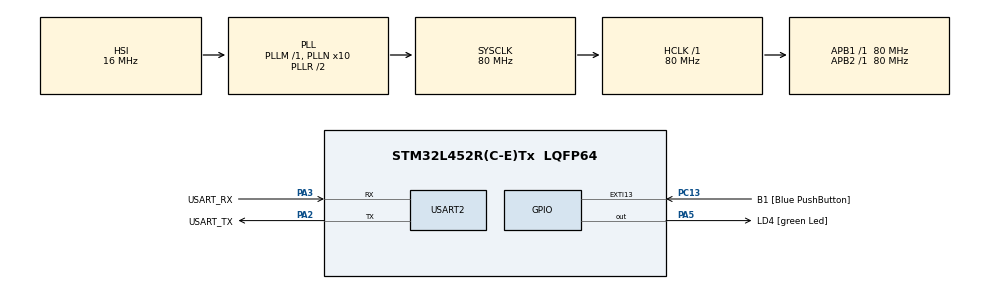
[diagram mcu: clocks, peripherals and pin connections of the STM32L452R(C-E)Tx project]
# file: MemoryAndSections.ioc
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Mcu.Family=STM32L4
Mcu.Name=STM32L452R(C-E)Tx
Mcu.Package=LQFP64
NVIC.PriorityGroup=NVIC_PRIORITYGROUP_4
PA13\ (JTMS/SWDIO).GPIO_Label=TMS
PA13\ (JTMS/SWDIO).Mode=Serial_Wire
PA13\ (JTMS/SWDIO).Signal=SYS_JTMS-SWDIO
PA14\ (JTCK/SWCLK).GPIO_Label=TCK
PA14\ (JTCK/SWCLK).Mode=Serial_Wire
PA14\ (JTCK/SWCLK).Signal=SYS_JTCK-SWCLK
PA2.GPIO_Label=USART_TX
PA2.GPIO_Mode=GPIO_MODE_AF_PP
PA2.GPIO_PuPd=GPIO_NOPULL
PA2.GPIO_Speed=GPIO_SPEED_FREQ_VERY_HIGH
PA2.Mode=Asynchronous
PA2.Signal=USART2_TX
PA3.GPIO_Label=USART_RX
PA3.GPIO_Mode=GPIO_MODE_AF_PP
PA3.GPIO_PuPd=GPIO_NOPULL
PA3.GPIO_Speed=GPIO_SPEED_FREQ_VERY_HIGH
PA3.Mode=Asynchronous
PA3.Signal=USART2_RX
PA5.GPIO_Label=LD4 [green Led]
PA5.GPIO_ModeDefaultOutputPP=GPIO_MODE_OUTPUT_PP
PA5.GPIO_PuPd=GPIO_NOPULL
PA5.GPIO_Speed=GPIO_SPEED_FREQ_LOW
PA5.Signal=GPIO_Output
PB3\ (JTDO/TRACESWO).GPIO_Label=SWO
PB3\ (JTDO/TRACESWO).Signal=SYS_JTDO-SWO
PC13.GPIO_Label=B1 [Blue PushButton]
PC13.GPIO_ModeDefaultEXTI=GPIO_MODE_IT_FALLING
PC13.GPIO_PuPd=GPIO_NOPULL
PC13.Signal=GPXTI13
PC14-OSC32_IN\ (PC14).Mode=LSE-External-Oscillator
PC14-OSC32_IN\ (PC14).Signal=RCC_OSC32_IN
PC15-OSC32_OUT\ (PC15).Mode=LSE-External-Oscillator
PC15-OSC32_OUT\ (PC15).Signal=RCC_OSC32_OUT
PH0-OSC_IN\ (PH0).Signal=RCC_OSC_IN
PH1-OSC_OUT\ (PH1).Signal=RCC_OSC_OUT
ProjectManager.HeapSize=0x200
ProjectManager.StackSize=0x400
ProjectManager.TargetToolchain=STM32CubeIDE
RCC.ADCFreq_Value=64000000
RCC.AHBFreq_Value=80000000
RCC.APB1Freq_Value=80000000
RCC.APB1TimFreq_Value=80000000
RCC.APB2Freq_Value=80000000
RCC.APB2TimFreq_Value=80000000
RCC.CortexFreq_Value=80000000
RCC.HCLKFreq_Value=80000000
RCC.HSE_VALUE=8000000
RCC.HSI48_VALUE=48000000
RCC.HSI_VALUE=16000000
RCC.MSI_VALUE=4000000
RCC.PLLN=10
RCC.PLLSourceVirtual=RCC_PLLSOURCE_HSI
RCC.PREFETCH_ENABLE=1
RCC.SYSCLKFreq_VALUE=80000000
RCC.SYSCLKSource=RCC_SYSCLKSOURCE_PLLCLK
RCC.USBFreq_Value=64000000
RCC.VCOOutputFreq_Value=160000000
USART2.VirtualMode-Asynchronous=VM_ASYNC
board=NUCLEO-L452RE

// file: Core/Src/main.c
/* USER CODE BEGIN Header */
/**
  ******************************************************************************
  * @file           : main.c
  * @brief          : Main program body
  ******************************************************************************
  * @attention
  *
  * Copyright (c) 2024 STMicroelectronics.
  * All rights reserved.
  *
  * This software is licensed under terms that can be found in the LICENSE file
  * in the root directory of this software component.
  * If no LICENSE file comes with this software, it is provided AS-IS.
  *
  ******************************************************************************
  */
/* USER CODE END Header */
#include "main.h"

/* USER CODE BEGIN Includes */
#include <stdio.h>

/* USER CODE END Includes */

/* USER CODE BEGIN PD */
//#define BACKUP_RAM
/* USER CODE END PD */

UART_HandleTypeDef huart2;

/* USER CODE BEGIN PV */
unsigned char __attribute__((section(".myBufSectionRAM"))) buf_ram[128];
unsigned char __attribute__((section(".myBufSectionFLASH"))) buf_flash[10] = {0,1,2,3,4,5,6,7,8,9};
unsigned char __attribute__((section(".mysection"))) buf_my_memory[10] = {0,1,2,3,4,5,6,7,8,9};
static uint8_t __attribute__((section(".myBackUpRAM"))) u8_variable;
/* USER CODE END PV */

void SystemClock_Config(void);
static void MX_GPIO_Init(void);
static void MX_USART2_UART_Init(void);
/* USER CODE BEGIN PFP */
#define PUTCHAR_PROTOTYPE int __io_putchar(int ch)

/* USER CODE END PFP */

int main(void)
{

  /* MCU Configuration--------------------------------------------------------*/

  /* Reset of all peripherals, Initializes the Flash interface and the Systick. */
  HAL_Init();

  /* Configure the system clock */
  SystemClock_Config();

  /* USER CODE BEGIN SysInit */
  __HAL_RCC_PWR_CLK_ENABLE();
  HAL_PWR_EnableBkUpAccess();

  // Wait for Backup domain Write protection disable
  uint32_t tickstart = HAL_GetTick();
  while((PWR->CR1 & PWR_CR1_DBP) == 0U)
  {
	  if((HAL_GetTick() - tickstart) > RCC_DBP_TIMEOUT_VALUE)
	  {
		  Error_Handler();
	  }
  }

  // Select the RTC clock source (LSE, LSI, or HSE)
  __HAL_RCC_RTC_CONFIG(RCC_RTCCLKSOURCE_LSE);
  // Enable the RTC clock
  __HAL_RCC_RTC_ENABLE();

  //Mechanism to clean and validate the data stored in the backup RAM.
  if((u8_variable % 0x10) != 0) u8_variable = 0x00;

  u8_variable += 0x10;

  /* USER CODE END SysInit */

  /* Initialize all configured peripherals */
  MX_GPIO_Init();
  MX_USART2_UART_Init();
  /* USER CODE BEGIN 2 */
  printf("Variable in BackUpRAM: %d\r\n ", u8_variable);
  /* USER CODE END 2 */

  /* Infinite loop */
  while (1)
  {

  }
}

void SystemClock_Config(void)
{
  RCC_OscInitTypeDef RCC_OscInitStruct = {0};
  RCC_ClkInitTypeDef RCC_ClkInitStruct = {0};

  /** Configure the main internal regulator output voltage
  */
  if (HAL_PWREx_ControlVoltageScaling(PWR_REGULATOR_VOLTAGE_SCALE1) != HAL_OK)
  {
    Error_Handler();
  }

  /** Initializes the RCC Oscillators according to the specified parameters
  * in the RCC_OscInitTypeDef structure.
  */
  RCC_OscInitStruct.OscillatorType = RCC_OSCILLATORTYPE_HSI;
  RCC_OscInitStruct.HSIState = RCC_HSI_ON;
  RCC_OscInitStruct.HSICalibrationValue = 64;
  RCC_OscInitStruct.PLL.PLLState = RCC_PLL_ON;
  RCC_OscInitStruct.PLL.PLLSource = RCC_PLLSOURCE_HSI;
  RCC_OscInitStruct.PLL.PLLM = 1;
  RCC_OscInitStruct.PLL.PLLN = 10;
  RCC_OscInitStruct.PLL.PLLP = RCC_PLLP_DIV7;
  RCC_OscInitStruct.PLL.PLLQ = RCC_PLLQ_DIV2;
  RCC_OscInitStruct.PLL.PLLR = RCC_PLLR_DIV2;
  if (HAL_RCC_OscConfig(&RCC_OscInitStruct) != HAL_OK)
  {
    Error_Handler();
  }

  /** Initializes the CPU, AHB and APB buses clocks
  */
  RCC_ClkInitStruct.ClockType = RCC_CLOCKTYPE_HCLK|RCC_CLOCKTYPE_SYSCLK
                              |RCC_CLOCKTYPE_PCLK1|RCC_CLOCKTYPE_PCLK2;
  RCC_ClkInitStruct.SYSCLKSource = RCC_SYSCLKSOURCE_PLLCLK;
  RCC_ClkInitStruct.AHBCLKDivider = RCC_SYSCLK_DIV1;
  RCC_ClkInitStruct.APB1CLKDivider = RCC_HCLK_DIV1;
  RCC_ClkInitStruct.APB2CLKDivider = RCC_HCLK_DIV1;

  if (HAL_RCC_ClockConfig(&RCC_ClkInitStruct, FLASH_LATENCY_4) != HAL_OK)
  {
    Error_Handler();
  }
}

static void MX_USART2_UART_Init(void)
{

  huart2.Instance = USART2;
  huart2.Init.BaudRate = 115200;
  huart2.Init.WordLength = UART_WORDLENGTH_8B;
  huart2.Init.StopBits = UART_STOPBITS_1;
  huart2.Init.Parity = UART_PARITY_NONE;
  huart2.Init.Mode = UART_MODE_TX_RX;
  huart2.Init.HwFlowCtl = UART_HWCONTROL_NONE;
  huart2.Init.OverSampling = UART_OVERSAMPLING_16;
  huart2.Init.OneBitSampling = UART_ONE_BIT_SAMPLE_DISABLE;
  huart2.AdvancedInit.AdvFeatureInit = UART_ADVFEATURE_NO_INIT;
  if (HAL_UART_Init(&huart2) != HAL_OK)
  {
    Error_Handler();
  }

}

static void MX_GPIO_Init(void)
{
  GPIO_InitTypeDef GPIO_InitStruct = {0};

  /* GPIO Ports Clock Enable */
  __HAL_RCC_GPIOC_CLK_ENABLE();
  __HAL_RCC_GPIOH_CLK_ENABLE();
  __HAL_RCC_GPIOA_CLK_ENABLE();
  __HAL_RCC_GPIOB_CLK_ENABLE();

  /*Configure GPIO pin Output Level */
  HAL_GPIO_WritePin(LD4_GPIO_Port, LD4_Pin, GPIO_PIN_RESET);

  /*Configure GPIO pin : B1_Pin */
  GPIO_InitStruct.Pin = B1_Pin;
  GPIO_InitStruct.Mode = GPIO_MODE_IT_FALLING;
  GPIO_InitStruct.Pull = GPIO_NOPULL;
  HAL_GPIO_Init(B1_GPIO_Port, &GPIO_InitStruct);

  /*Configure GPIO pin : LD4_Pin */
  GPIO_InitStruct.Pin = LD4_Pin;
  GPIO_InitStruct.Mode = GPIO_MODE_OUTPUT_PP;
  GPIO_InitStruct.Pull = GPIO_NOPULL;
  GPIO_InitStruct.Speed = GPIO_SPEED_FREQ_LOW;
  HAL_GPIO_Init(LD4_GPIO_Port, &GPIO_InitStruct);

}

/* USER CODE BEGIN 4 */
PUTCHAR_PROTOTYPE
{
  /* Place your implementation of fputc here */
  /* e.g. write a character to the USART1 and Loop until the end of transmission */
  HAL_UART_Transmit(&huart2, (uint8_t *)&ch, 1, 0xFFFF);

  return ch;
}

/* USER CODE END 4 */

void Error_Handler(void)
{
  /* USER CODE BEGIN Error_Handler_Debug */
	printf("Error\r\n ");
  /* User can add his own implementation to report the HAL error return state */
  __disable_irq();
  while (1)
  {
  }
  /* USER CODE END Error_Handler_Debug */
}
